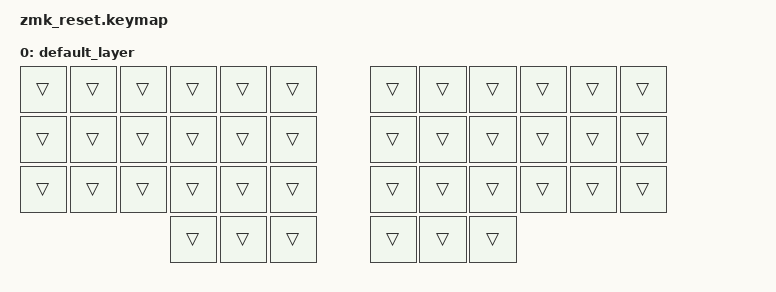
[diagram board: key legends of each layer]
/*
 * Minimal keymap for reset firmware (trans-only).
 * We intentionally do not include any mouse/display-related bindings.
 */

#include <behaviors.dtsi>

/ {
	keymap {
		compatible = "zmk,keymap";

		default_layer {
			bindings = <
				&trans &trans &trans &trans &trans &trans &trans &trans &trans &trans &trans &trans
				&trans &trans &trans &trans &trans &trans &trans &trans &trans &trans &trans &trans
				&trans &trans &trans &trans &trans &trans &trans &trans &trans &trans &trans &trans
				&trans &trans &trans &trans &trans &trans
			>;
		};
	};
};

